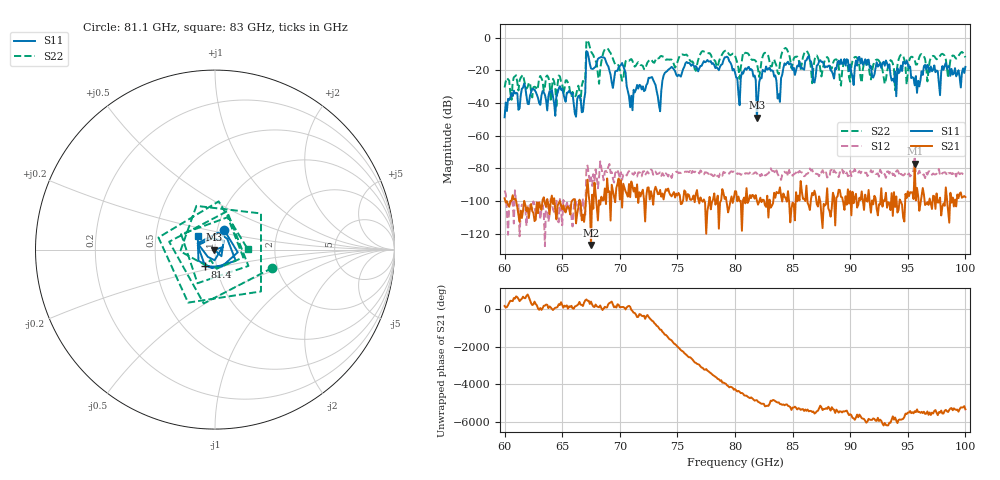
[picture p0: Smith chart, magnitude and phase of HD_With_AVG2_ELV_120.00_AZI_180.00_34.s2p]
! 11/25/2026 10:27:01 AM
! C:\ANRITSUVNA\TEMP\TEMP.S2P
! CHANNEL.1
! TR.MEASUREMENT
! RAW.DATA
# HZ S RI R 50.0
! FREQ.HZ  S11RE  S11IM  S21RE  S21IM  S12RE  S12IM  S22RE  S22IM
!; PortSelection: Port_12
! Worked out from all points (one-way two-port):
!   401 points, 60 GHz to 100 GHz, reference 50 ohm
!   highest |S21| = -77.21 dB at 95.6 GHz (marker M1); lowest = -127.0 dB at 67.5 GHz (marker M2)
!   lowest |S11| = -49.1 dB at 81.9 GHz (marker M3), VSWR 1.01, Z = 49.7 - j0.0358 ohm
!   |S11| at or under -10 dB: start of sweep to 67.09 GHz; 67.24 GHz to end of sweep
!   |S22| runs from -42.9 to -1.7 dB; largest |S21 - S12| = 0.00017
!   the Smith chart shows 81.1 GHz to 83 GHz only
!   S11 on the Smith chart (normalised r, x): 81.1 GHz: 1.08, +0.24; 81.4 GHz: 0.88, -0.17; 83 GHz: 0.82, +0.12
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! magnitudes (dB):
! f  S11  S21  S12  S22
! 60 GHz  -48.8  -98.4  -93.6  -30.5
! 61.6 GHz  -30.6  -105.8  -102.4  -22.8
! 66.7 GHz  -45.7  -111.9  -103.8  -29.5
! 67.3 GHz  -12.1  -96.4  -83.5  -3.1
! 67.5 GHz  -18.9  -127.0  -85.4  -8.5
! 70.2 GHz  -15.5  -104.0  -87.0  -26.4
! 70.9 GHz  -42.6  -97.7  -83.2  -13.5
! 72.7 GHz  -24.4  -94.0  -80.7  -13.3
! 73.4 GHz  -41.2  -95.8  -83.1  -12.6
! 74.4 GHz  -18.6  -96.5  -84.1  -13.4
! 80 GHz  -21.2  -94.0  -82.5  -11.0
! 81.1 GHz  -18.4  -101.2  -83.2  -9.5
! 81.4 GHz  -19.3  -98.2  -82.0  -13.0
! 81.9 GHz  -49.1  -99.7  -83.4  -15.7
! 83 GHz  -18.4  -99.2  -81.9  -14.8
! 83.8 GHz  -34.7  -95.3  -84.7  -22.4
! 84.5 GHz  -15.5  -100.4  -82.3  -7.0
! 86.7 GHz  -17.6  -95.1  -80.9  -27.9
! 93.4 GHz  -16.3  -101.4  -83.3  -15.6
! 94.8 GHz  -16.0  -95.7  -83.0  -17.8
! 95.6 GHz  -29.2  -77.2  -73.8  -13.6
! 100 GHz  -17.9  -97.6  -82.9  -12.1
